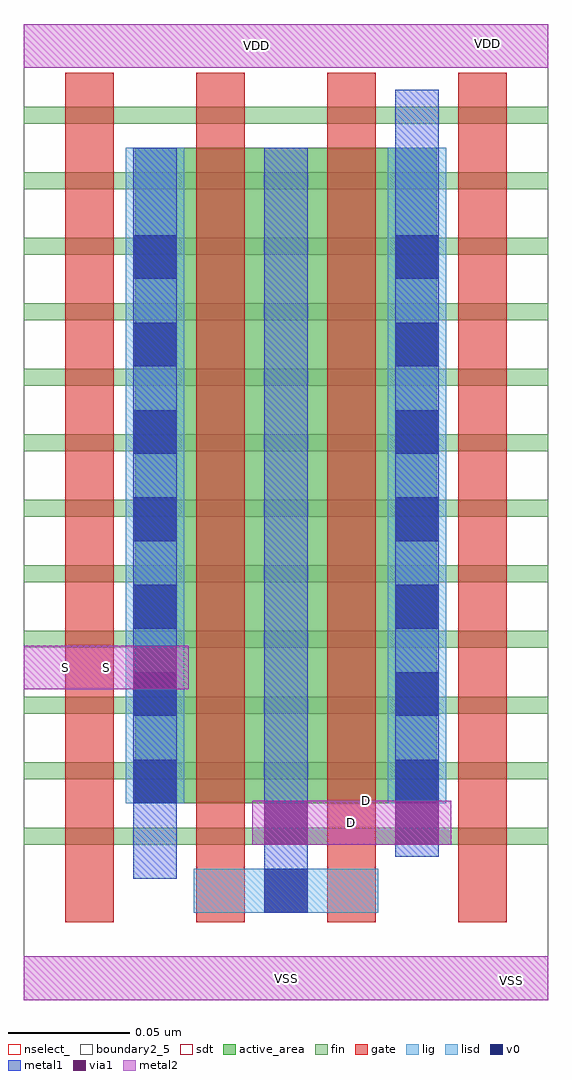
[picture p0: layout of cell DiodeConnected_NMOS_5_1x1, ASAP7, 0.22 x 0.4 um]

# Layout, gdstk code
import gdstk
lib = gdstk.Library(unit=1e-6, precision=2.5e-10)
def R(c, l, rs):  # rectangles x0, y0, x1, y1
    for r in rs: c.add(gdstk.rectangle(r[:2], r[2:], *l))
def A(c, l, x, y, w, h, nx, ny, dx, dy):  # array of equal rectangles
    R(c, l, [(x+i*dx, y+j*dy, x+i*dx+w, y+j*dy+h) for i in range(nx) for j in range(ny)])
fin = (2, 0)
gate = (7, 0)
active_area = (11, 0)
nselect_ = (12, 0)
lig = (16, 0)
lisd = (17, 0)
v0 = (18, 0)
metal1 = (19, 0)
metal2 = (20, 0)
via1 = (21, 0)
sdt = (88, 0)
boundary2_5 = (235, 5)

m2_m1_cdns_543942266690 = lib.new_cell('M2_M1_CDNS_543942266690')
R(m2_m1_cdns_543942266690, metal1, [(-0.009,-0.014,0.009,0.014)])
R(m2_m1_cdns_543942266690, metal2, [(-0.014,-0.009,0.014,0.009)])
R(m2_m1_cdns_543942266690, via1, [(-0.009,-0.009,0.009,0.009)])

diodeconnected_nmos_5_1x = lib.new_cell('DiodeConnected_NMOS_5_1x1')
A(diodeconnected_nmos_5_1x, fin, 0, 0.064, 0.216, 0.007, 1, 11, 0, 0.027)
R(diodeconnected_nmos_5_1x, fin, [(0,0.334,0.216,0.341), (0,0.361,0.216,0.368), (0,0.361,0.216,0.368)])
A(diodeconnected_nmos_5_1x, gate, 0.017, 0.032, 0.02, 0.35, 4, 1, 0.054, 0)
R(diodeconnected_nmos_5_1x, active_area, [(0.046,0.081,0.17,0.351)])
R(diodeconnected_nmos_5_1x, nselect_, [(0,0,0.216,0.402)])
R(diodeconnected_nmos_5_1x, lig, [(0.07,0.036,0.146,0.054)])
R(diodeconnected_nmos_5_1x, lisd, [(0.042,0.081,0.066,0.351), (0.15,0.081,0.174,0.351)])
A(diodeconnected_nmos_5_1x, v0, 0.045, 0.081, 0.018, 0.018, 1, 7, 0, 0.036)
A(diodeconnected_nmos_5_1x, v0, 0.153, 0.081, 0.018, 0.018, 1, 7, 0, 0.036)
R(diodeconnected_nmos_5_1x, v0, [(0.099,0.036,0.117,0.054)])
R(diodeconnected_nmos_5_1x, metal1, [(0.099,0.036,0.117,0.351), (0.045,0.05,0.063,0.351), (0.153,0.059,0.171,0.375)])
R(diodeconnected_nmos_5_1x, metal2, [(0,0,0.216,0.018), (0,0,0.216,0.018), (0.094,0.064,0.176,0.082), (0.094,0.064,0.176,0.082), (0,0.128,0.068,0.146), (0,0.128,0.068,0.146), (0,0.384,0.216,0.402), (0,0.384,0.216,0.402)])
R(diodeconnected_nmos_5_1x, sdt, [(0.042,0.081,0.066,0.351), (0.15,0.081,0.174,0.351)])
R(diodeconnected_nmos_5_1x, boundary2_5, [(0,0,0.216,0.402)])
diodeconnected_nmos_5_1x.add(gdstk.Reference(m2_m1_cdns_543942266690, (0.054,0.137)))
diodeconnected_nmos_5_1x.add(gdstk.Reference(m2_m1_cdns_543942266690, (0.108,0.073)))
diodeconnected_nmos_5_1x.add(gdstk.Reference(m2_m1_cdns_543942266690, (0.162,0.073)))
diodeconnected_nmos_5_1x.add(gdstk.Label('VDD', (0.096,0.393), layer=20, texttype=0))
diodeconnected_nmos_5_1x.add(gdstk.Label('S', (0.034,0.137), layer=20, texttype=0))
diodeconnected_nmos_5_1x.add(gdstk.Label('D', (0.141,0.082), layer=20, texttype=0))
diodeconnected_nmos_5_1x.add(gdstk.Label('VSS', (0.108,0.009), layer=20, texttype=0))
diodeconnected_nmos_5_1x.add(gdstk.Label('S', (0.017,0.137), layer=20, texttype=0))
diodeconnected_nmos_5_1x.add(gdstk.Label('D', (0.135,0.073), layer=20, texttype=0))
diodeconnected_nmos_5_1x.add(gdstk.Label('VSS', (0.201,0.008), layer=20, texttype=0))
diodeconnected_nmos_5_1x.add(gdstk.Label('VDD', (0.191,0.394), layer=20, texttype=0))

lib.write_gds('DiodeConnected_NMOS_5_1x1.gds')
